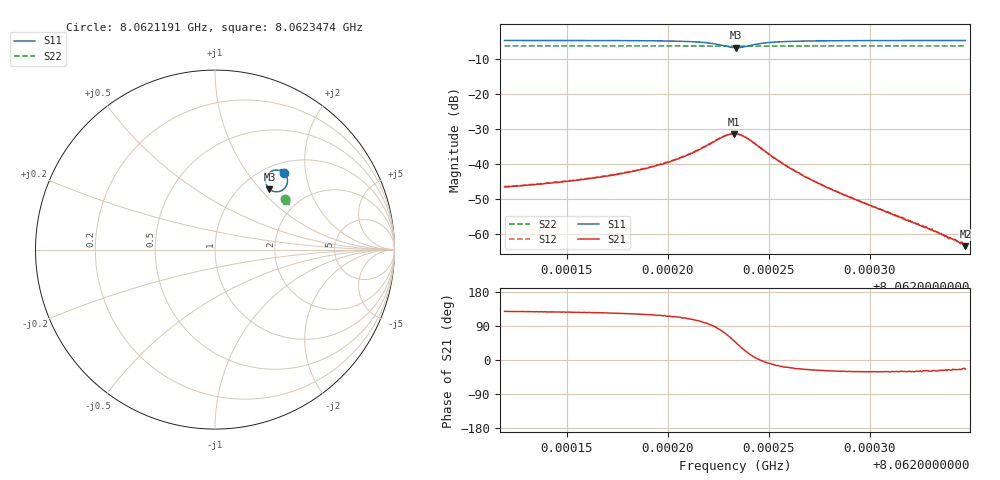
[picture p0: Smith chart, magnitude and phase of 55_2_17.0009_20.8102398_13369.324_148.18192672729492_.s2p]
#  HZ  S  RI  R  50.00
! Rohde & Schwarz Vector Network Analyzer
! Rohde-Schwarz,ZNB20-2Port,1311601062101988,3.16
! Created: UTC 3/20/2024, 10:54:28 PM
! freq[Hz]  re:S11  im:S11  re:S21  im:S21  re:S12  im:S12  re:S22  im:S22
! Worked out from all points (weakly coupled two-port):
!   401 points, 8.0621191 GHz to 8.0623474 GHz, reference 50 ohm
!   highest |S21| = -31.46 dB at 8.0622327 GHz (marker M1); lowest = -63.5 dB at 8.0623474 GHz (marker M2)
!   lowest |S11| = -6.9 dB at 8.0622338 GHz (marker M3), VSWR 2.66, Z = 66.3 + j56.2 ohm
!   |S11| at or under -10 dB: nowhere
!   |S22| runs from -6.4 to -6.3 dB; largest |S21 - S12| = 0.0021
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8.06211909e9  0.386 0.4267  -0.00291 0.00368  -0.00272 0.00386  0.3895 0.2837
8.06213564e9  0.3881 0.4241  -0.00309 0.00408  -0.00287 0.0043  0.3899 0.2826
8.06215733e9  0.3915 0.4198  -0.00347 0.00487  -0.00321 0.00511  0.3909 0.2814
8.06218074e9  0.3965 0.4117  -0.00406 0.00643  -0.00373 0.00677  0.3916 0.2801
8.06219558e9  0.4008 0.402  -0.00461 0.0085  -0.00402 0.00887  0.3921 0.2788
8.06220871e9  0.4038 0.3846  -0.00458 0.0121  -0.00373 0.0125  0.3924 0.2775
8.06222013e9  0.3957 0.3523  -0.00164 0.0186  -0.000461 0.019  0.3919 0.2756
8.06222812e9  0.356 0.3234  0.00779 0.0236  0.0095 0.0232  0.3899 0.2747
8.06223268e9  0.3129 0.33  0.0169 0.0207  0.0185 0.0196  0.3883 0.2754
8.06223325e9  0.3079 0.3333  0.0178 0.0199  0.0195 0.0188  0.3883 0.2757
8.06223382e9  0.3031 0.3368  0.0188 0.019  0.0203 0.0176  0.3883 0.2758
8.06223839e9  0.2825 0.3771  0.022 0.00965  0.0226 0.00823  0.3881 0.2777
8.06224296e9  0.2896 0.4117  0.0194 0.0024  0.0196 0.00108  0.389 0.2787
8.06224752e9  0.3055 0.4307  0.0156 -0.000983  0.0155 -0.00211  0.3901 0.279
8.06225894e9  0.3361 0.4432  0.00873 -0.00307  0.00857 -0.00359  0.392 0.2785
8.0622715e9  0.353 0.4426  0.00521 -0.00257  0.00511 -0.00291  0.3931 0.2777
8.06228691e9  0.3638 0.4401  0.00317 -0.0018  0.00307 -0.00201  0.394 0.2767
8.06230974e9  0.3723 0.4362  0.00169 -0.00103  0.00165 -0.00115  0.3948 0.2753
8.06233429e9  0.3775 0.4332  0.000913 -0.000464  0.000892 -0.000522  0.3957 0.2741
8.06234e9  0.3785 0.4324  0.000784 -0.000391  0.000744 -0.000429  0.396 0.2737
8.06234171e9  0.3788 0.4324  0.000747 -0.000351  0.000741 -0.000384  0.3962 0.2737
8.06234742e9  0.3797 0.4318  0.000612 -0.00027  0.000617 -0.000312  0.3963 0.2733
